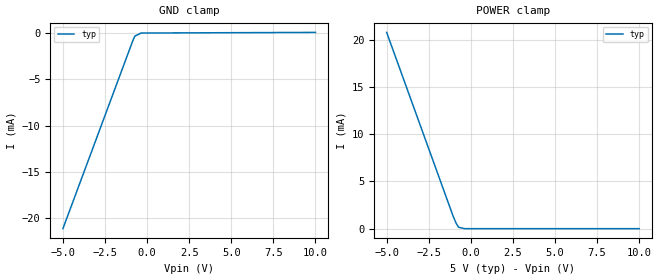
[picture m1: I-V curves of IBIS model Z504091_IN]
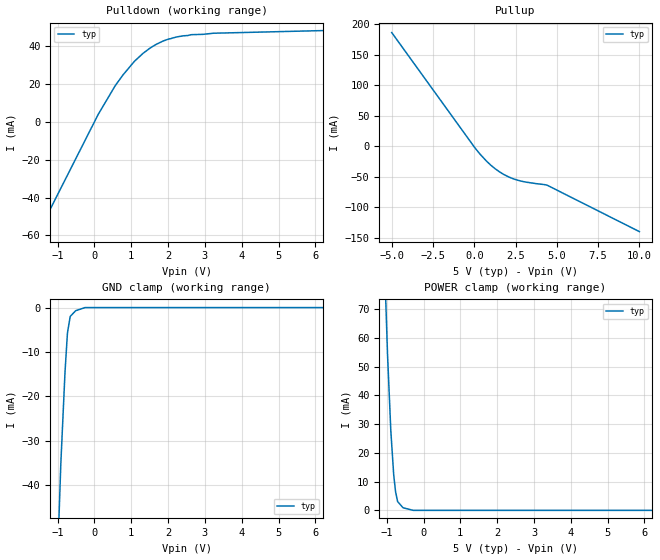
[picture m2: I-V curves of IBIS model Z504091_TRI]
| YOU ARE ONLY AUTHORIZED TO USE THIS SOFTWARE
| ACCORDING TO LICENSOR'S LICENSE RESTRICTIONS.
[IBIS Ver] 3.1
[File Name] mc54hc354j.ibs
[File Rev] 2.0
[Source] Measured and created by ICX Technology
[Date] Friday 7/14/00 9:08:06 AM
[Copyright]
| (C) COPYRIGHT 1993-2000
| MENTOR GRAPHICS CORPORATION
| ICX STANDARD LIBRARY, ICX PROJECT MODELING,
| ICX CUSTOM MODELING, ICX VENDOR MODEL
| ALL RIGHTS RESERVED.
| THE FOLLOWING ARE TRADEMARKS OR SERVICE MARKS OF
| MENTOR GRAPHICS CORPORATION:ICX (R), ICX STANDARD
| LIBRARY(R), ICX PROJECT MODELING(R), ICX CUSTOM
| MODELING(R), qualityIBIS(TM), MODELVIEWER(TM),
| AND MODELEDITOR(TM)
| ALL COPIES OF SOFTWARE, INCLUDING BUT NOT LIMITED TO
| ANY MODIFICATIONS, ENHANCEMENTS OR DERIVATIVE WORKS,
| MUST CONTAIN ALL MENTOR GRAPHICS CORPORATION'S
| NOTICES AND LEGENDS, INCLUDING THOSE EMBEDDED IN
| SOFTWARE AND THOSE AFFIXED TO SOFTWARE MEDIUM
| AND CONTAINER, AS RECEIVED FROM MENTOR GRAPHICS
| CORPORATION.
|  ZAP Model Builder 2.7
[Component] MC54HC354J
[Manufacturer] OnSemiconductor
[Package]
| variable   typ   min   max
R_pkg  .216ohms NA NA
L_pkg  5.76nH NA NA
C_pkg  2.193pF NA NA
[Pin] signal_name  model_name  R_pin  L_pin C_pin
1 D7 Z504091_IN .232 9.76n 3.179p
2 D6 Z504091_IN .224 7.26n 2.686p
3 D5 Z504091_IN .216 5.26n 2.193p
4 D4 Z504091_IN .208 3.76n 1.7p
5 D3 Z504091_IN .2 2.76n 1.207p
6 D2 Z504091_IN .2 2.76n 1.207p
7 D1 Z504091_IN .208 3.76n 1.7p
8 D0 Z504091_IN .216 5.26n 2.193p
9 _DC Z504091_IN .224 7.26n 2.686p
10 GND GND .232 9.76n 3.179p
11 _SC Z504091_IN .232 9.76n 3.179p
12 S2 Z504091_IN .224 7.26n 2.686p
13 S1 Z504091_IN .216 5.26n 2.193p
14 S0 Z504091_IN .208 3.76n 1.7p
15 _G1 Z504091_IN .2 2.76n 1.207p
16 _G2 Z504091_IN .2 2.76n 1.207p
17 G3 Z504091_IN .208 3.76n 1.7p
18 _Y Z504091_TRI .216 5.26n 2.193p
19 Y Z504091_TRI .224 7.26n 2.686p
20 VCC POWER .232 9.76n 3.179p
| Models and submodels in the file (2): Z504091_IN (Input), Z504091_TRI (3-state)
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| (C) COPYRIGHT 1993-2000
| MENTOR GRAPHICS CORPORATION
| ICX STANDARD LIBRARY, ICX PROJECT MODELING,
| ICX CUSTOM MODELING, ICX VENDOR MODEL
| ALL RIGHTS RESERVED.
| THE FOLLOWING ARE TRADEMARKS OR SERVICE MARKS OF
| MENTOR GRAPHICS CORPORATION:ICX (R), ICX STANDARD
| LIBRARY(R), ICX PROJECT MODELING(R), ICX CUSTOM
| MODELING(R), qualityIBIS(TM), MODELVIEWER(TM),
| AND MODELEDITOR(TM)
| ALL COPIES OF SOFTWARE, INCLUDING BUT NOT LIMITED TO
| ANY MODIFICATIONS, ENHANCEMENTS OR DERIVATIVE WORKS,
| MUST CONTAIN ALL MENTOR GRAPHICS CORPORATION'S
| NOTICES AND LEGENDS, INCLUDING THOSE EMBEDDED IN
| SOFTWARE AND THOSE AFFIXED TO SOFTWARE MEDIUM
| AND CONTAINER, AS RECEIVED FROM MENTOR GRAPHICS
| CORPORATION.
| Model Application Version 1.89 2/18/99.
[Model] Z504091_IN
Model_type Input
Vinl = 1.000V
Vinh = 3.500V
C_comp 4.000pF NA NA
| variable typ   min   max
[Voltage Range] 5.000V NA NA
[GND Clamp Reference] 0.000V NA NA
[POWER Clamp Reference] 5.000V NA NA
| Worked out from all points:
|   POWER clamp passes 1 mA (typ) near -0.97 V on its own axis
[GND Clamp]
-5V       -21.11mA   NA         NA
-859.3mV  -913.5uA   NA         NA
-727.5mV  -361.1uA   NA         NA
-363.8mV  -26.51uA   NA         NA
10V       41.85uA    NA         NA
[POWER Clamp]
-5V       20.79mA    NA         NA
-1.06V    1.361mA    NA         NA
-867mV    551.2uA    NA         NA
-729mV    146.9uA    NA         NA
-364.5mV  0A         NA         NA
10V       0A         NA         NA
| (C) COPYRIGHT 1993-2000
| MENTOR GRAPHICS CORPORATION
| ICX STANDARD LIBRARY, ICX PROJECT MODELING,
| ICX CUSTOM MODELING, ICX VENDOR MODEL
| ALL RIGHTS RESERVED.
| THE FOLLOWING ARE TRADEMARKS OR SERVICE MARKS OF
| MENTOR GRAPHICS CORPORATION:ICX (R), ICX STANDARD
| LIBRARY(R), ICX PROJECT MODELING(R), ICX CUSTOM
| MODELING(R), qualityIBIS(TM), MODELVIEWER(TM),
| AND MODELEDITOR(TM)
| ALL COPIES OF SOFTWARE, INCLUDING BUT NOT LIMITED TO
| ANY MODIFICATIONS, ENHANCEMENTS OR DERIVATIVE WORKS,
| MUST CONTAIN ALL MENTOR GRAPHICS CORPORATION'S
| NOTICES AND LEGENDS, INCLUDING THOSE EMBEDDED IN
| SOFTWARE AND THOSE AFFIXED TO SOFTWARE MEDIUM
| AND CONTAINER, AS RECEIVED FROM MENTOR GRAPHICS
| CORPORATION.
| Model Application Version 1.89 2/18/99.
[Model] Z504091_TRI
Model_type 3-state
Vref=0.000V
Rref=500.0Mohms
Cref=50.00pF
Vmeas=2.500V
C_comp 8.000pF NA NA
| variable typ   min   max
[Voltage Range] 5.000V NA NA
[POWER Clamp Reference] 5.000V NA NA
[Pullup Reference] 5.000V NA NA
[Pulldown Reference] 0.000V NA NA
[GND Clamp Reference] 0.000V NA NA
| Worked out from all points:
|   slope of the pulldown table from 0 to 0.75 V, typ, clamps not added: 31.2 ohm
|   slope of the pullup table from 0 to 0.75 V, typ, clamps not added: 32 ohm
|   GND clamp passes 1 mA (typ) near -0.54 V on its own axis
|   POWER clamp passes 1 mA (typ) near -0.56 V on its own axis
[GND Clamp]
-5V       -1.77A     NA         NA
-1.077V   -81.34mA   NA         NA
-1.004V   -57.25mA   NA         NA
-913.5mV  -35.15mA   NA         NA
-800mV    -14.55mA   NA         NA
-733.6mV  -5.695mA   NA         NA
-658.4mV  -1.994mA   NA         NA
-509.5mV  -704.8uA   NA         NA
-254.8mV  0A         NA         NA
10V       0A         NA         NA
[Pulldown]
-5V       -192.1mA   NA         NA
101.9mV   3.935mA    NA         NA
566.9mV   19.19mA    NA         NA
781.2mV   24.93mA    NA         NA
1.089V    32.03mA    NA         NA
1.324V    36.24mA    NA         NA
1.521V    39.09mA    NA         NA
1.857V    42.61mA    NA         NA
2.415V    45.42mA    NA         NA
3.232V    46.78mA    NA         NA
10V       49.97mA    NA         NA
[Pullup]
-5V       186.5mA    NA         NA
39mV      -2.419mA   NA         NA
718mV     -23.55mA   NA         NA
1.259V    -36.54mA   NA         NA
1.771V    -45.79mA   NA         NA
2.382V    -53.33mA   NA         NA
3.174V    -58.74mA   NA         NA
4.407V    -63.55mA   NA         NA
10V       -139.7mA   NA         NA
[POWER Clamp]
-5V       2.511A     NA         NA
-1.249V   181.1mA    NA         NA
-1.073V   91.84mA    NA         NA
-977mV    54.27mA    NA         NA
-887mV    27.6mA     NA         NA
-809mV    12.33mA    NA         NA
-758mV    6.405mA    NA         NA
-703mV    3.067mA    NA         NA
-555mV    904.4uA    NA         NA
-277.5mV  0A         NA         NA
10V       0A         NA         NA
[Ramp]
| variable typ min max
dV/dt_r 2.849/1.993n NA NA
dV/dt_f 2.849/1.570n NA NA
R_load = 500.0Ohms
